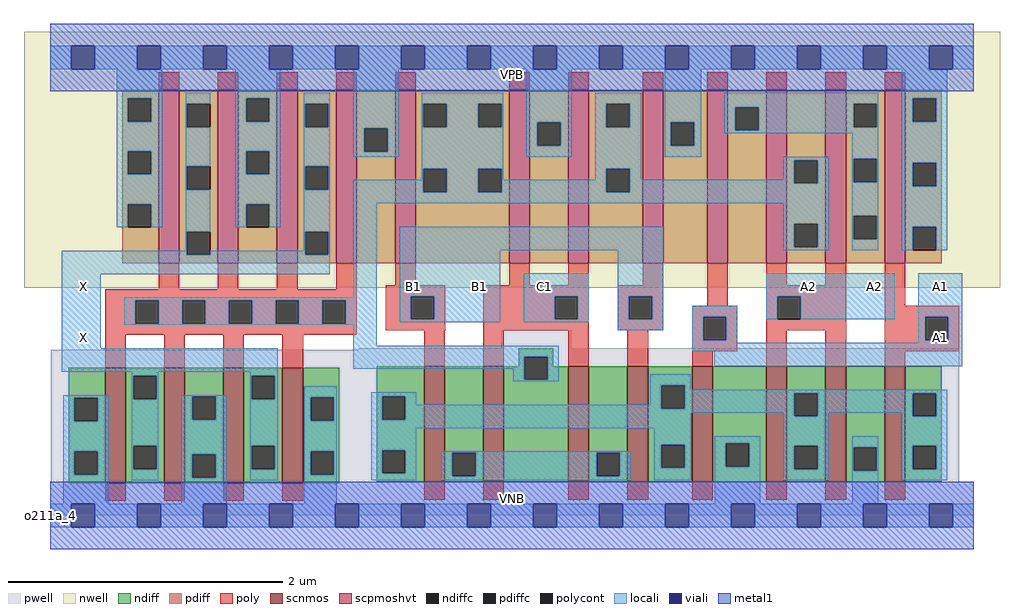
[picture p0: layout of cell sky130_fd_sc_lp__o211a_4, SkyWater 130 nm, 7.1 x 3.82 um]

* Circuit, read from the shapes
.subckt sky130_fd_sc_lp__o211a_4 A1 A2 B1 C1 VGND VNB VPB VPWR X
XM1 X n1 VGND VNB sky130_fd_pr__nfet_01v8 w=0.84 l=0.15 m=4
XM2 n2 B1 n3 VNB sky130_fd_pr__nfet_01v8 w=0.84 l=0.15 m=2
XM3 n1 C1 n2 VNB sky130_fd_pr__nfet_01v8 w=0.84 l=0.15 m=2
XM4 VGND A1 n3 VNB sky130_fd_pr__nfet_01v8 w=0.84 l=0.15 m=2
XM5 n3 A2 VGND VNB sky130_fd_pr__nfet_01v8 w=0.84 l=0.15 m=2
XM6 X n1 VPWR VPB sky130_fd_pr__pfet_01v8_hvt w=1.26 l=0.15 m=4
XM7 n1 B1 VPWR VPB sky130_fd_pr__pfet_01v8_hvt w=1.26 l=0.15 m=2
XM8 VPWR C1 n1 VPB sky130_fd_pr__pfet_01v8_hvt w=1.26 l=0.15 m=2
XM9 n4 A1 VPWR VPB sky130_fd_pr__pfet_01v8_hvt w=1.26 l=0.15 m=2
XM10 n1 A2 n4 VPB sky130_fd_pr__pfet_01v8_hvt w=1.26 l=0.15 m=2
.ends

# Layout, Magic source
magic
tech sky130A
magscale 1 2
<< nwell >>
rect -38 331 1382 704
<< pwell >>
rect 656 243 758 269
rect 449 241 1323 243
rect 1 49 1323 241
rect 0 0 1344 49
<< scnmos >>
rect 80 47 110 215
rect 166 47 196 215
rect 252 47 282 215
rect 338 47 368 215
rect 544 49 574 217
rect 630 49 660 217
rect 754 49 784 217
rect 840 49 870 217
rect 934 49 964 217
rect 1042 49 1072 217
rect 1128 49 1158 217
rect 1214 49 1244 217
<< scpmoshvt >>
rect 158 367 188 619
rect 244 367 274 619
rect 330 367 360 619
rect 416 367 446 619
rect 502 367 532 619
rect 668 367 698 619
rect 754 367 784 619
rect 862 367 892 619
rect 956 367 986 619
rect 1042 367 1072 619
rect 1128 367 1158 619
rect 1214 367 1244 619
<< ndiff >>
rect 682 231 732 243
rect 682 217 690 231
rect 27 171 80 215
rect 27 137 35 171
rect 69 137 80 171
rect 27 93 80 137
rect 27 59 35 93
rect 69 59 80 93
rect 27 47 80 59
rect 110 203 166 215
rect 110 169 121 203
rect 155 169 166 203
rect 110 101 166 169
rect 110 67 121 101
rect 155 67 166 101
rect 110 47 166 67
rect 196 173 252 215
rect 196 139 207 173
rect 241 139 252 173
rect 196 89 252 139
rect 196 55 207 89
rect 241 55 252 89
rect 196 47 252 55
rect 282 203 338 215
rect 282 169 293 203
rect 327 169 338 203
rect 282 101 338 169
rect 282 67 293 101
rect 327 67 338 101
rect 282 47 338 67
rect 368 172 421 215
rect 368 138 379 172
rect 413 138 421 172
rect 368 93 421 138
rect 368 59 379 93
rect 413 59 421 93
rect 368 47 421 59
rect 475 173 544 217
rect 475 139 483 173
rect 517 139 544 173
rect 475 95 544 139
rect 475 61 483 95
rect 517 61 544 95
rect 475 49 544 61
rect 574 91 630 217
rect 574 57 585 91
rect 619 57 630 91
rect 574 49 630 57
rect 660 197 690 217
rect 724 217 732 231
rect 724 197 754 217
rect 660 49 754 197
rect 784 91 840 217
rect 784 57 795 91
rect 829 57 840 91
rect 784 49 840 57
rect 870 189 934 217
rect 870 155 889 189
rect 923 155 934 189
rect 870 103 934 155
rect 870 69 889 103
rect 923 69 934 103
rect 870 49 934 69
rect 964 105 1042 217
rect 964 71 983 105
rect 1017 71 1042 105
rect 964 49 1042 71
rect 1072 178 1128 217
rect 1072 144 1083 178
rect 1117 144 1128 178
rect 1072 101 1128 144
rect 1072 67 1083 101
rect 1117 67 1128 101
rect 1072 49 1128 67
rect 1158 99 1214 217
rect 1158 65 1169 99
rect 1203 65 1214 99
rect 1158 49 1214 65
rect 1244 178 1297 217
rect 1244 144 1255 178
rect 1289 144 1297 178
rect 1244 101 1297 144
rect 1244 67 1255 101
rect 1289 67 1297 101
rect 1244 49 1297 67
<< pdiff >>
rect 105 607 158 619
rect 105 573 113 607
rect 147 573 158 607
rect 105 530 158 573
rect 105 496 113 530
rect 147 496 158 530
rect 105 453 158 496
rect 105 419 113 453
rect 147 419 158 453
rect 105 367 158 419
rect 188 599 244 619
rect 188 565 199 599
rect 233 565 244 599
rect 188 508 244 565
rect 188 474 199 508
rect 233 474 244 508
rect 188 413 244 474
rect 188 379 199 413
rect 233 379 244 413
rect 188 367 244 379
rect 274 607 330 619
rect 274 573 285 607
rect 319 573 330 607
rect 274 530 330 573
rect 274 496 285 530
rect 319 496 330 530
rect 274 453 330 496
rect 274 419 285 453
rect 319 419 330 453
rect 274 367 330 419
rect 360 599 416 619
rect 360 565 371 599
rect 405 565 416 599
rect 360 508 416 565
rect 360 474 371 508
rect 405 474 416 508
rect 360 413 416 474
rect 360 379 371 413
rect 405 379 416 413
rect 360 367 416 379
rect 446 563 502 619
rect 446 529 457 563
rect 491 529 502 563
rect 446 367 502 529
rect 532 599 668 619
rect 532 565 543 599
rect 577 565 623 599
rect 657 565 668 599
rect 532 504 668 565
rect 532 470 543 504
rect 577 470 623 504
rect 657 470 668 504
rect 532 367 668 470
rect 698 572 754 619
rect 698 538 709 572
rect 743 538 754 572
rect 698 367 754 538
rect 784 599 862 619
rect 784 565 809 599
rect 843 565 862 599
rect 784 504 862 565
rect 784 470 809 504
rect 843 470 862 504
rect 784 367 862 470
rect 892 572 956 619
rect 892 538 903 572
rect 937 538 956 572
rect 892 367 956 538
rect 986 594 1042 619
rect 986 560 997 594
rect 1031 560 1042 594
rect 986 367 1042 560
rect 1072 517 1128 619
rect 1072 483 1083 517
rect 1117 483 1128 517
rect 1072 424 1128 483
rect 1072 390 1083 424
rect 1117 390 1128 424
rect 1072 367 1128 390
rect 1158 599 1214 619
rect 1158 565 1169 599
rect 1203 565 1214 599
rect 1158 519 1214 565
rect 1158 485 1169 519
rect 1203 485 1214 519
rect 1158 436 1214 485
rect 1158 402 1169 436
rect 1203 402 1214 436
rect 1158 367 1214 402
rect 1244 607 1297 619
rect 1244 573 1255 607
rect 1289 573 1297 607
rect 1244 513 1297 573
rect 1244 479 1255 513
rect 1289 479 1297 513
rect 1244 420 1297 479
rect 1244 386 1255 420
rect 1289 386 1297 420
rect 1244 367 1297 386
<< ndiffc >>
rect 35 137 69 171
rect 35 59 69 93
rect 121 169 155 203
rect 121 67 155 101
rect 207 139 241 173
rect 207 55 241 89
rect 293 169 327 203
rect 293 67 327 101
rect 379 138 413 172
rect 379 59 413 93
rect 483 139 517 173
rect 483 61 517 95
rect 585 57 619 91
rect 690 197 724 231
rect 795 57 829 91
rect 889 155 923 189
rect 889 69 923 103
rect 983 71 1017 105
rect 1083 144 1117 178
rect 1083 67 1117 101
rect 1169 65 1203 99
rect 1255 144 1289 178
rect 1255 67 1289 101
<< pdiffc >>
rect 113 573 147 607
rect 113 496 147 530
rect 113 419 147 453
rect 199 565 233 599
rect 199 474 233 508
rect 199 379 233 413
rect 285 573 319 607
rect 285 496 319 530
rect 285 419 319 453
rect 371 565 405 599
rect 371 474 405 508
rect 371 379 405 413
rect 457 529 491 563
rect 543 565 577 599
rect 623 565 657 599
rect 543 470 577 504
rect 623 470 657 504
rect 709 538 743 572
rect 809 565 843 599
rect 809 470 843 504
rect 903 538 937 572
rect 997 560 1031 594
rect 1083 483 1117 517
rect 1083 390 1117 424
rect 1169 565 1203 599
rect 1169 485 1203 519
rect 1169 402 1203 436
rect 1255 573 1289 607
rect 1255 479 1289 513
rect 1255 386 1289 420
<< poly >>
rect 158 619 188 645
rect 244 619 274 645
rect 330 619 360 645
rect 416 619 446 645
rect 502 619 532 645
rect 668 619 698 645
rect 754 619 784 645
rect 862 619 892 645
rect 956 619 986 645
rect 1042 619 1072 645
rect 1128 619 1158 645
rect 1214 619 1244 645
rect 158 329 188 367
rect 244 329 274 367
rect 330 329 360 367
rect 416 329 446 367
rect 502 335 532 367
rect 668 335 698 367
rect 754 335 784 367
rect 862 335 892 367
rect 80 313 446 329
rect 80 279 124 313
rect 158 279 192 313
rect 226 279 260 313
rect 294 279 328 313
rect 362 279 396 313
rect 430 279 446 313
rect 80 263 446 279
rect 488 319 575 335
rect 488 285 525 319
rect 559 285 575 319
rect 488 269 575 285
rect 630 319 784 335
rect 630 285 734 319
rect 768 285 784 319
rect 630 269 784 285
rect 826 319 892 335
rect 826 285 842 319
rect 876 285 892 319
rect 956 305 986 367
rect 1042 335 1072 367
rect 1128 335 1158 367
rect 1042 319 1158 335
rect 826 269 892 285
rect 934 289 1000 305
rect 80 215 110 263
rect 166 215 196 263
rect 252 215 282 263
rect 338 215 368 263
rect 544 217 574 269
rect 630 217 660 269
rect 754 217 784 269
rect 840 217 870 269
rect 934 255 950 289
rect 984 255 1000 289
rect 934 239 1000 255
rect 1042 285 1058 319
rect 1092 285 1158 319
rect 1042 269 1158 285
rect 934 217 964 239
rect 1042 217 1072 269
rect 1128 217 1158 269
rect 1214 305 1244 367
rect 1214 289 1323 305
rect 1214 255 1273 289
rect 1307 255 1323 289
rect 1214 239 1323 255
rect 1214 217 1244 239
rect 80 21 110 47
rect 166 21 196 47
rect 252 21 282 47
rect 338 21 368 47
rect 544 23 574 49
rect 630 23 660 49
rect 754 23 784 49
rect 840 23 870 49
rect 934 23 964 49
rect 1042 23 1072 49
rect 1128 23 1158 49
rect 1214 23 1244 49
<< polycont >>
rect 124 279 158 313
rect 192 279 226 313
rect 260 279 294 313
rect 328 279 362 313
rect 396 279 430 313
rect 525 285 559 319
rect 734 285 768 319
rect 842 285 876 319
rect 950 255 984 289
rect 1058 285 1092 319
rect 1273 255 1307 289
<< locali >>
rect 0 649 31 683
rect 65 649 127 683
rect 161 649 223 683
rect 257 649 319 683
rect 353 649 415 683
rect 449 649 511 683
rect 545 649 607 683
rect 641 649 703 683
rect 737 649 799 683
rect 833 649 895 683
rect 929 649 991 683
rect 1025 649 1087 683
rect 1121 649 1183 683
rect 1217 649 1279 683
rect 1313 649 1344 683
rect 97 607 163 649
rect 97 573 113 607
rect 147 573 163 607
rect 97 530 163 573
rect 97 496 113 530
rect 147 496 163 530
rect 97 453 163 496
rect 97 419 113 453
rect 147 419 163 453
rect 197 599 233 615
rect 197 565 199 599
rect 197 508 233 565
rect 197 474 199 508
rect 197 413 233 474
rect 269 607 335 649
rect 269 573 285 607
rect 319 573 335 607
rect 269 530 335 573
rect 269 496 285 530
rect 319 496 335 530
rect 269 453 335 496
rect 269 419 285 453
rect 319 419 335 453
rect 369 599 407 615
rect 369 565 371 599
rect 405 565 407 599
rect 369 508 407 565
rect 441 563 507 649
rect 441 529 457 563
rect 491 529 507 563
rect 441 522 507 529
rect 541 599 659 615
rect 541 565 543 599
rect 577 565 623 599
rect 657 565 659 599
rect 369 474 371 508
rect 405 474 407 508
rect 541 504 659 565
rect 693 572 759 649
rect 693 538 709 572
rect 743 538 759 572
rect 693 522 759 538
rect 793 599 860 615
rect 793 565 809 599
rect 843 565 860 599
rect 541 488 543 504
rect 197 385 199 413
rect 17 379 199 385
rect 369 413 407 474
rect 369 385 371 413
rect 233 379 371 385
rect 405 379 407 413
rect 17 351 407 379
rect 441 470 543 488
rect 577 470 623 504
rect 657 488 659 504
rect 793 504 860 565
rect 894 572 947 649
rect 894 538 903 572
rect 937 538 947 572
rect 981 599 1205 615
rect 981 594 1169 599
rect 981 560 997 594
rect 1031 565 1169 594
rect 1203 565 1205 599
rect 1031 560 1205 565
rect 981 556 1205 560
rect 894 522 947 538
rect 793 488 809 504
rect 657 470 809 488
rect 843 488 860 504
rect 1067 517 1133 522
rect 1067 488 1083 517
rect 843 483 1083 488
rect 1117 483 1133 517
rect 843 470 1133 483
rect 441 454 1133 470
rect 17 243 74 351
rect 441 317 475 454
rect 1067 424 1133 454
rect 108 313 475 317
rect 108 279 124 313
rect 158 279 192 313
rect 226 279 260 313
rect 294 279 328 313
rect 362 279 396 313
rect 430 279 475 313
rect 509 386 892 420
rect 1067 390 1083 424
rect 1117 390 1133 424
rect 1067 386 1133 390
rect 1167 519 1205 556
rect 1167 485 1169 519
rect 1203 485 1205 519
rect 1167 436 1205 485
rect 1167 402 1169 436
rect 1203 402 1205 436
rect 1167 386 1205 402
rect 1239 607 1305 649
rect 1239 573 1255 607
rect 1289 573 1305 607
rect 1239 513 1305 573
rect 1239 479 1255 513
rect 1289 479 1305 513
rect 1239 420 1305 479
rect 1239 386 1255 420
rect 1289 386 1305 420
rect 509 319 655 386
rect 509 285 525 319
rect 559 285 655 319
rect 509 281 655 285
rect 689 319 784 352
rect 689 285 734 319
rect 768 285 784 319
rect 689 281 784 285
rect 826 319 892 386
rect 826 285 842 319
rect 876 285 892 319
rect 1042 319 1229 352
rect 108 277 475 279
rect 441 247 475 277
rect 826 269 892 285
rect 934 289 1000 305
rect 934 255 950 289
rect 984 255 1000 289
rect 1042 285 1058 319
rect 1092 285 1229 319
rect 1263 289 1327 352
rect 934 251 1000 255
rect 1263 255 1273 289
rect 1307 255 1327 289
rect 1263 251 1327 255
rect 17 209 331 243
rect 441 231 740 247
rect 934 239 1327 251
rect 441 213 690 231
rect 119 203 157 209
rect 19 171 85 175
rect 19 137 35 171
rect 69 137 85 171
rect 19 93 85 137
rect 19 59 35 93
rect 69 59 85 93
rect 19 17 85 59
rect 119 169 121 203
rect 155 169 157 203
rect 291 203 331 209
rect 119 101 157 169
rect 119 67 121 101
rect 155 67 157 101
rect 119 51 157 67
rect 191 173 257 175
rect 191 139 207 173
rect 241 139 257 173
rect 191 89 257 139
rect 191 55 207 89
rect 241 55 257 89
rect 191 17 257 55
rect 291 169 293 203
rect 327 169 331 203
rect 674 197 690 213
rect 724 197 740 231
rect 966 217 1327 239
rect 674 195 740 197
rect 873 189 932 205
rect 291 101 331 169
rect 291 67 293 101
rect 327 67 331 101
rect 291 51 331 67
rect 370 172 417 188
rect 370 138 379 172
rect 413 138 417 172
rect 370 93 417 138
rect 370 59 379 93
rect 413 59 417 93
rect 370 17 417 59
rect 467 173 533 179
rect 467 139 483 173
rect 517 161 533 173
rect 873 161 889 189
rect 517 155 889 161
rect 923 183 932 189
rect 923 178 1305 183
rect 923 155 1083 178
rect 517 149 1083 155
rect 517 139 933 149
rect 467 127 933 139
rect 467 95 533 127
rect 467 61 483 95
rect 517 61 533 95
rect 879 103 933 127
rect 1067 144 1083 149
rect 1117 149 1255 178
rect 1117 144 1133 149
rect 467 51 533 61
rect 569 91 845 93
rect 569 57 585 91
rect 619 57 795 91
rect 829 57 845 91
rect 569 51 845 57
rect 879 69 889 103
rect 923 69 933 103
rect 879 51 933 69
rect 967 105 1033 115
rect 967 71 983 105
rect 1017 71 1033 105
rect 967 17 1033 71
rect 1067 101 1133 144
rect 1239 144 1255 149
rect 1289 144 1305 178
rect 1067 67 1083 101
rect 1117 67 1133 101
rect 1067 51 1133 67
rect 1167 99 1205 115
rect 1167 65 1169 99
rect 1203 65 1205 99
rect 1167 17 1205 65
rect 1239 101 1305 144
rect 1239 67 1255 101
rect 1289 67 1305 101
rect 1239 51 1305 67
rect 0 -17 31 17
rect 65 -17 127 17
rect 161 -17 223 17
rect 257 -17 319 17
rect 353 -17 415 17
rect 449 -17 511 17
rect 545 -17 607 17
rect 641 -17 703 17
rect 737 -17 799 17
rect 833 -17 895 17
rect 929 -17 991 17
rect 1025 -17 1087 17
rect 1121 -17 1183 17
rect 1217 -17 1279 17
rect 1313 -17 1344 17
<< viali >>
rect 31 649 65 683
rect 127 649 161 683
rect 223 649 257 683
rect 319 649 353 683
rect 415 649 449 683
rect 511 649 545 683
rect 607 649 641 683
rect 703 649 737 683
rect 799 649 833 683
rect 895 649 929 683
rect 991 649 1025 683
rect 1087 649 1121 683
rect 1183 649 1217 683
rect 1279 649 1313 683
rect 31 -17 65 17
rect 127 -17 161 17
rect 223 -17 257 17
rect 319 -17 353 17
rect 415 -17 449 17
rect 511 -17 545 17
rect 607 -17 641 17
rect 703 -17 737 17
rect 799 -17 833 17
rect 895 -17 929 17
rect 991 -17 1025 17
rect 1087 -17 1121 17
rect 1183 -17 1217 17
rect 1279 -17 1313 17
<< metal1 >>
rect 0 683 1344 715
rect 0 649 31 683
rect 65 649 127 683
rect 161 649 223 683
rect 257 649 319 683
rect 353 649 415 683
rect 449 649 511 683
rect 545 649 607 683
rect 641 649 703 683
rect 737 649 799 683
rect 833 649 895 683
rect 929 649 991 683
rect 1025 649 1087 683
rect 1121 649 1183 683
rect 1217 649 1279 683
rect 1313 649 1344 683
rect 0 617 1344 649
rect 0 17 1344 49
rect 0 -17 31 17
rect 65 -17 127 17
rect 161 -17 223 17
rect 257 -17 319 17
rect 353 -17 415 17
rect 449 -17 511 17
rect 545 -17 607 17
rect 641 -17 703 17
rect 737 -17 799 17
rect 833 -17 895 17
rect 929 -17 991 17
rect 1025 -17 1087 17
rect 1121 -17 1183 17
rect 1217 -17 1279 17
rect 1313 -17 1344 17
rect 0 -49 1344 -17
<< labels >>
flabel pwell s 0 0 1344 49 0 FreeSans 200 0 0 0 VNB
port 6 nsew ground bidirectional
flabel nwell s 0 617 1344 666 0 FreeSans 200 0 0 0 VPB
port 7 nsew power bidirectional
rlabel comment s 0 0 0 0 4 o211a_4
flabel metal1 s 0 617 1344 666 0 FreeSans 340 0 0 0 VPWR
port 8 nsew power bidirectional
flabel metal1 s 0 0 1344 49 0 FreeSans 340 0 0 0 VGND
port 5 nsew ground bidirectional
flabel locali s 1087 316 1121 350 0 FreeSans 340 0 0 0 A2
port 2 nsew signal input
flabel locali s 1183 316 1217 350 0 FreeSans 340 0 0 0 A2
port 2 nsew signal input
flabel locali s 703 316 737 350 0 FreeSans 340 0 0 0 C1
port 4 nsew signal input
flabel locali s 31 242 65 276 0 FreeSans 340 0 0 0 X
port 9 nsew signal output
flabel locali s 31 316 65 350 0 FreeSans 340 0 0 0 X
port 9 nsew signal output
flabel locali s 1279 242 1313 276 0 FreeSans 340 0 0 0 A1
port 1 nsew signal input
flabel locali s 1279 316 1313 350 0 FreeSans 340 0 0 0 A1
port 1 nsew signal input
flabel locali s 511 316 545 350 0 FreeSans 340 0 0 0 B1
port 3 nsew signal input
flabel locali s 607 316 641 350 0 FreeSans 340 0 0 0 B1
port 3 nsew signal input
<< properties >>
string LEFsite unit
string LEFclass CORE
string FIXED_BBOX 0 0 1344 666
string GDS_FILE $PDKPATH/libs.ref/sky130_fd_sc_lp/gds/sky130_fd_sc_lp.gds
string LEFsymmetry X Y R90
string GDS_END 2813400
string GDS_START 2802140
<< end >>
